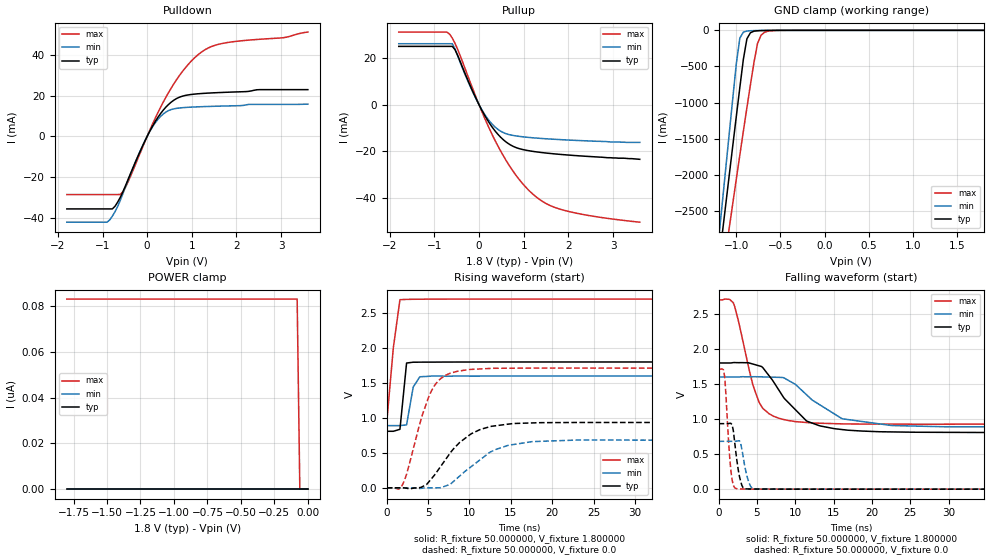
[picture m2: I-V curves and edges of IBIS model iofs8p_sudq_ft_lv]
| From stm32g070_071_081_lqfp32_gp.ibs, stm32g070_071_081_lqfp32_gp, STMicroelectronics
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|   Model iofs8p_sudq_ft_lv
[Model]  iofs8p_sudq_ft_lv
Model_type I/O
Polarity   Non-Inverting
Enable   Active-Low
Vinl =   0.540000V
Vinh =   1.260000V
Vmeas =  0.900000V
Cref =   40.000000pF
Rref =   100.000000M
Vref =   0.0V
C_comp   1.984800pF   1.899400pF   2.077500pF
[Temperature Range]   25.000000   -40.000000   0.125000k
[Pullup Reference]   1.800000V   1.600000V   2.700000V
[Pulldown Reference]   0.0V   0.0V   0.0V
[POWER Clamp Reference]   1.800000V   1.600000V   2.700000V
[GND Clamp Reference]   0.0V   0.0V   0.0V
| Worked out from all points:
|   slope of the pulldown table from 0 to 0.27 V, typ, clamps not added: 26.4 ohm
|   slope of the pullup table from 0 to 0.27 V, typ, clamps not added: 30.1 ohm
|   GND clamp passes 1 mA (typ) near -0.61 V on its own axis
|   rising waveform, R_fixture 50.000000, V_fixture 1.800000: 20-80 % time 502ps typ, 696ps min, 936ps max; typ from 0.809 V to 1.8 V
|   rising waveform, R_fixture 50.000000, V_fixture 0.0: 20-80 % time 4.11ns typ, 4.63ns min, 2.6ns max; typ from 0 V to 0.934 V
|   falling waveform, R_fixture 50.000000, V_fixture 1.800000: 20-80 % time 4.46ns typ, 5.33ns min, 2.44ns max; typ from 1.8 V to 0.809 V
|   falling waveform, R_fixture 50.000000, V_fixture 0.0: 20-80 % time 695ps typ, 761ps min, 597ps max; typ from 0.934 V to 0 V
[Pulldown]
|Voltage   I(typ)   I(min)   I(max)
-1.8V     -35.64mA   -42.15mA   -28.59mA
-900mV    -35.64mA   -42.15mA   -28.59mA
-780mV    -35.64mA   -39.2mA    -28.59mA
-600mV    -29.83mA   -31.3mA    -28.52mA
-420mV    -20.8mA    -21.07mA   -21.98mA
60mV      2.604mA    2.459mA    3.062mA
240mV     9.303mA    8.31mA     11.61mA
480mV     15.67mA    12.64mA    21.52mA
720mV     19.18mA    13.9mA     29.74mA
960mV     20.46mA    14.3mA     36.27mA
1.44V     21.29mA    14.7mA     44.06mA
3.6V      22.91mA    15.79mA    51.15mA
[Pullup]
|Voltage   I(typ)   I(min)   I(max)
-1.8V     25.2mA     26.35mA    31.36mA
-660mV    25.2mA     26.35mA    30.47mA
-600mV    25.2mA     26.35mA    28.77mA
-540mV    23.79mA    24.11mA    26.53mA
-60mV     2.392mA    2.26mA     2.893mA
300mV     -9.801mA   -8.48mA    -13.12mA
480mV     -13.91mA   -11.33mA   -19.82mA
720mV     -17.48mA   -13.04mA   -27.46mA
1.26V     -20.22mA   -14.3mA    -39.41mA
1.56V     -20.9mA    -14.71mA   -43.14mA
1.98V     -21.62mA   -15.16mA   -45.85mA
3.6V      -23.5mA    -16.2mA    -50.6mA
[GND_clamp]
|Voltage   I(typ)   I(min)   I(max)
-1.8V     -9.477A    -9.805A    -9.016A
-1.2V     -3.243A    -2.9A      -3.759A
-1.16V    -2.83A     -2.409A    -3.417A
-1.12V    -2.418A    -1.919A    -3.076A
-1.08V    -2.008A    -1.431A    -2.736A
-1V       -1.194A    -466mA     -2.061A
-960mV    -792.8mA   -108.7mA   -1.727A
-920mV    -402mA     -24.35mA   -1.396A
-880mV    -117.8mA   -9.188mA   -1.071A
-760mV    -5.896mA   -2.88mA    -183.8mA
-680mV    -2.395mA   -1.099mA   -26.61mA
1.8V      0A         0A         0A
[POWER_clamp]
|Voltage   I(typ)   I(min)   I(max)
-1.8V     0A         0A         83.17nA
-80mV     0A         0A         83.17nA
-60mV     0A         0A         0A
0V        0A         0A         0A
[Ramp]
| variable   typ   min   max
dV/dt_r  0.56056/4.10615n   0.40980/4.64093n   1.02750/2.59632n
dV/dt_f  0.59503/4.45986n   0.42595/5.32206n   1.06403/2.43879n
R_load = 50.000000
[Rising Waveform]
R_fixture= 50.000000
V_fixture= 1.800000
V_fixture_min= 1.600000
V_fixture_max= 2.700000
|time   V(typ)   V(min)   V(max)
0s        808.8mV    889.5mV    927.1mV
800.8ps   808.5mV    889.6mV    2.002V
1.602ns   837.1mV    889.6mV    2.691V
2.402ns   1.785V     900.6mV    2.695V
3.203ns   1.797V     1.441V     2.697V
4.004ns   1.798V     1.589V     2.698V
5.606ns   1.798V     1.6V       2.699V
79.28ns   1.8V       1.6V       2.7V
[Rising Waveform]
R_fixture= 50.000000
V_fixture= 0.0
V_fixture_min= 0.0
V_fixture_max= 0.0
|time   V(typ)   V(min)   V(max)
0s        959.8nV    708.2nV    1.585uV
1.441ns   16.71uV    -614.4nV   -19.31mV
2.082ns   -221.6uV   113.9nV    88.06mV
4.324ns   17.14mV    -4.672mV   1.047V
5.766ns   180.8mV    -549.2uV   1.46V
6.887ns   367.2mV    16.92mV    1.593V
8.649ns   628.5mV    150.9mV    1.669V
12.49ns   874.9mV    510.7mV    1.707V
17.62ns   928.3mV    661.2mV    1.712V
79.76ns   934.4mV    682.2mV    1.713V
[Falling Waveform]
R_fixture= 50.000000
V_fixture= 1.800000
V_fixture_min= 1.600000
V_fixture_max= 2.700000
|time   V(typ)   V(min)   V(max)
0s        1.8V       1.6V       2.7V
1.922ns   1.806V     1.6V       2.659V
4.484ns   1.784V     1.604V     1.483V
5.285ns   1.759V     1.603V     1.238V
8.809ns   1.268V     1.57V      985.4mV
11.53ns   969.6mV    1.341V     949.9mV
13.13ns   905.6mV    1.208V     940.8mV
16.18ns   849.5mV    1.003V     931.2mV
22.58ns   816.6mV    907.5mV    927.8mV
79.76ns   808.8mV    889.5mV    927.1mV
[Falling Waveform]
R_fixture= 50.000000
V_fixture= 0.0
V_fixture_min= 0.0
V_fixture_max= 0.0
|time   V(typ)   V(min)   V(max)
0s        934.4mV    682.2mV    1.713V
800.8ps   934.4mV    682.2mV    1.597V
1.602ns   938.8mV    682.1mV    262.9mV
1.922ns   834.4mV    681.7mV    54.04mV
2.402ns   394.4mV    687.1mV    6.141mV
2.883ns   107.8mV    648.8mV    3.044mV
3.203ns   19.14mV    464mV      2.445mV
4.004ns   2.658mV    80.78mV    1.546mV
4.645ns   1.907mV    3.998mV    1.127mV
79.76ns   959.8nV    708.2nV    1.585uV
